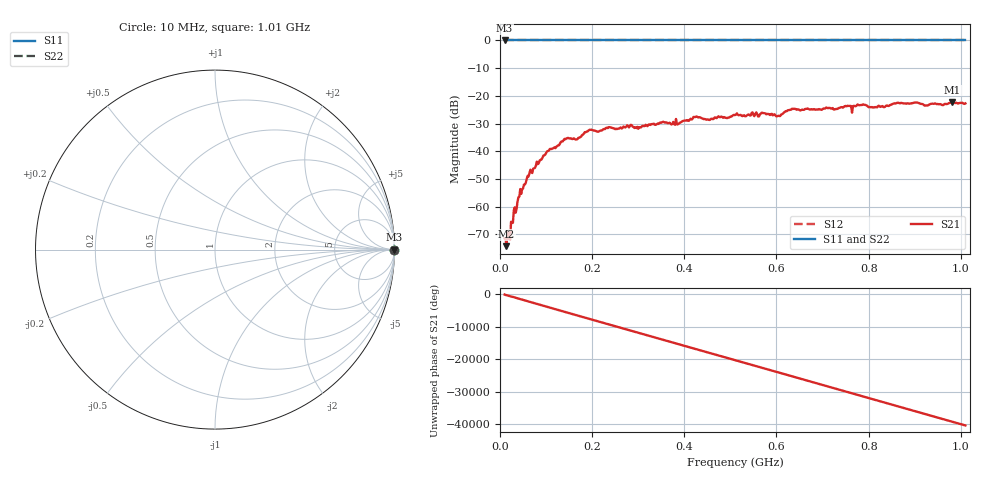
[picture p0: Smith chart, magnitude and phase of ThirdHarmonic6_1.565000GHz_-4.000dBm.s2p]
! 8/16/2025 6:35:49 PM
! C:\ANRITSUVNA\TEMP\TEMP.S2P
! CHANNEL.1
! TR.MEASUREMENT
! RAW.DATA
! RF.CORRECTION.OFF
! AVERAGING.OFF
! IF.BANDWIDTH: 5KHZ
! SWEEPTYPE:  FREQ.SWEEP(Linear)
! Reference Plane Port Info
! PORT:  PORT1  PORT2
! DISTANCE:  0  m  0  m
! TIME:  0  s  0  s
! PHASE.OFFSET:  0  deg.  0  deg.
! LOSS:  0  dB  0  dB
! REF.LOSS:  0  dB  0  dB
! REF.FREQ:  0  Hz  0  Hz
! Power Info
! POWER:  -20  dBm  -20  dBm
! EFF.POWER:  -20  dBm  -20  dBm
! SOURCE.ATTEN:  0  dB  0  dB
! TEST.ATTEN:  0  dB  0  dB
# GHZ S RI R 50.0
! FREQ.GHZ  S11RE  S11IM  S21RE  S21IM  S12RE  S12IM  S22RE  S22IM
!; PortSelection: Port_12
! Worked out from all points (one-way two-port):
!   501 points, 10 MHz to 1.01 GHz, reference 50 ohm
!   highest |S21| = -22.23 dB at 982 MHz (marker M1); lowest = -74.3 dB at 14 MHz (marker M2)
!   lowest |S11| = 0.0 dB at 10 MHz (marker M3)
!   |S11| at or under -10 dB: nowhere
!   |S22| runs from 0.0 to 0.0 dB; largest |S21 - S12| = 1.1
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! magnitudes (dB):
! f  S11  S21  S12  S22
! 10 MHz  0.0  -71.4  0.0  0.0
! 14 MHz  0.0  -74.3  0.0  0.0
! 18 MHz  0.0  -68.8  0.0  0.0
! 24 MHz  0.0  -65.5  0.0  0.0
! 28 MHz  0.0  -65.8  0.0  0.0
! 42 MHz  0.0  -56.4  0.0  0.0
! 64 MHz  0.0  -47.9  0.0  0.0
! 106 MHz  0.0  -39.8  0.0  0.0
! 144 MHz  0.0  -35.4  0.0  0.0
! 166 MHz  0.0  -35.7  0.0  0.0
! 178 MHz  0.0  -34.2  0.0  0.0
! 196 MHz  0.0  -32.2  0.0  0.0
! 344 MHz  0.0  -30.1  0.0  0.0
! 388 MHz  0.0  -30.1  0.0  0.0
! 510 MHz  0.0  -27.0  0.0  0.0
! 572 MHz  0.0  -26.2  0.0  0.0
! 604 MHz  0.0  -27.2  0.0  0.0
! 634 MHz  0.0  -24.7  0.0  0.0
! 678 MHz  0.0  -25.0  0.0  0.0
! 844 MHz  0.0  -23.6  0.0  0.0
! 982 MHz  0.0  -22.2  0.0  0.0
! 1.01 GHz  0.0  -22.7  0.0  0.0
